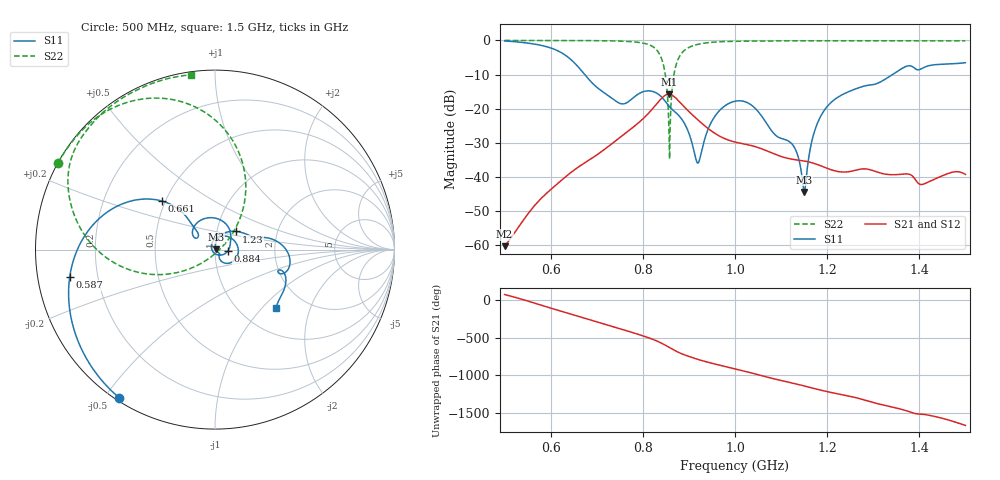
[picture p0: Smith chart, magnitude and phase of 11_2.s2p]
! TOUCHSTONE file generated by CST MICROWAVE STUDIO
! Date and time: Fri Oct  2 16:31:38 2020
! Project name: Scenario_1_Free_Space_out_of_line.cst
! Parameters = {Lambda=346.42; Step_1=17.321; dy1=174.23; dx1=346; L_HA=400; MT=2.54; Rad_Dielectric=30; Rad_Lower=7.3; Rad_Upper=30; a_HA=580; a_WG=246; b_HA=500; b_WG=121; c_HA=0; c_WG=187; d_feed=85; h_feed=15; h_lower=18; h_upper=40}
! Header version: 2018
! Port assignment regex: !\s*Touchstone port\s*([0-9]+)\s*=\s*(CST MWS port|CST DS port)\s*([0-9]+|Zmin|Zmax)\s*\(\"(.*)\"\)(\s*mode\s*([0-9]+))?.*
! Touchstone port assignment:
! Touchstone port 1 = CST MWS port 1 ("")
! Touchstone port 2 = CST MWS port 2 ("")
# GHz S DB R 50
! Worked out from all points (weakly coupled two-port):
!   1003 points, 500 MHz to 1.5 GHz, reference 50 ohm
!   highest |S21| = -15.76 dB at 856 MHz (marker M1); lowest = -60.3 dB at 500 MHz (marker M2)
!   lowest |S11| = -44.4 dB at 1.15 GHz (marker M3), VSWR 1.01, Z = 50.6 + j0.149 ohm
!   |S11| at or under -10 dB: 673.9 MHz to 1.342 GHz (667.8 MHz wide, 66.3 % of centre)
!   |S22| runs from -34.7 to 0.0 dB; largest |S21 - S12| = 2.6e-05
!   S11 on the Smith chart (normalised r, x): 500 MHz: 0.01, -0.55; 587 MHz: 0.10, -0.09; 661 MHz: 0.48, +0.31; 884 MHz: 1.15, -0.02; 1.23 GHz: 1.24, +0.26; 1.5 GHz: 1.43, -1.20
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0.5  -0.15 -122.8  -60.30 68.6  -60.30 68.6  -0.01 151.1
0.587  -1.69 -169.4  -45.32 -86.4  -45.31 -86.4  -0.02 145.1
0.661  -7.95 137.5  -37.03 138.0  -37.03 138.0  -0.04 138.9
0.667  -8.89 134.8  -36.48 127.0  -36.48 127.0  -0.04 138.3
0.751  -18.49 141.2  -28.36 -22.9  -28.36 -22.9  -0.20 127.1
0.834  -15.79 73.6  -17.96 165.3  -17.96 165.3  -3.50 85.2
0.847  -17.56 50.4  -16.22 125.1  -16.22 125.1  -8.65 62.4
0.856  -19.12 37.3  -15.76 93.5  -15.76 93.5  -23.40 31.4
0.861  -19.88 31.0  -15.89 75.8  -15.89 75.8  -18.99 -135.6
0.869  -20.86 19.9  -16.59 49.2  -16.59 49.2  -8.92 -157.1
0.884  -22.99 -7.4  -18.65 7.2  -18.65 7.2  -3.79 -179.0
0.92  -35.93 -156.1  -23.35 -69.1  -23.35 -69.1  -1.13 158.3
0.953  -22.92 77.0  -26.93 -124.3  -26.93 -124.3  -0.50 148.6
1  -17.82 4.6  -29.79 167.9  -29.79 167.9  -0.25 140.2
1.124  -30.41 -42.0  -34.81 -20.4  -34.81 -20.4  -0.11 127.6
1.15  -44.38 14.1  -35.34 -58.7  -35.34 -58.7  -0.10 125.5
1.167  -29.38 84.0  -35.85 -85.3  -35.85 -85.3  -0.10 124.2
1.191  -21.05 67.0  -37.00 -121.7  -37.00 -121.7  -0.09 122.3
1.23  -16.10 40.2  -38.54 -171.6  -38.54 -171.6  -0.08 119.3
1.334  -10.68 13.2  -39.32 32.0  -39.32 32.0  -0.09 111.5
1.405  -8.27 -17.3  -42.24 -72.4  -42.24 -72.4  -0.10 105.9
1.5  -6.53 -43.9  -39.27 138.9  -39.25 138.9  -0.14 97.9
